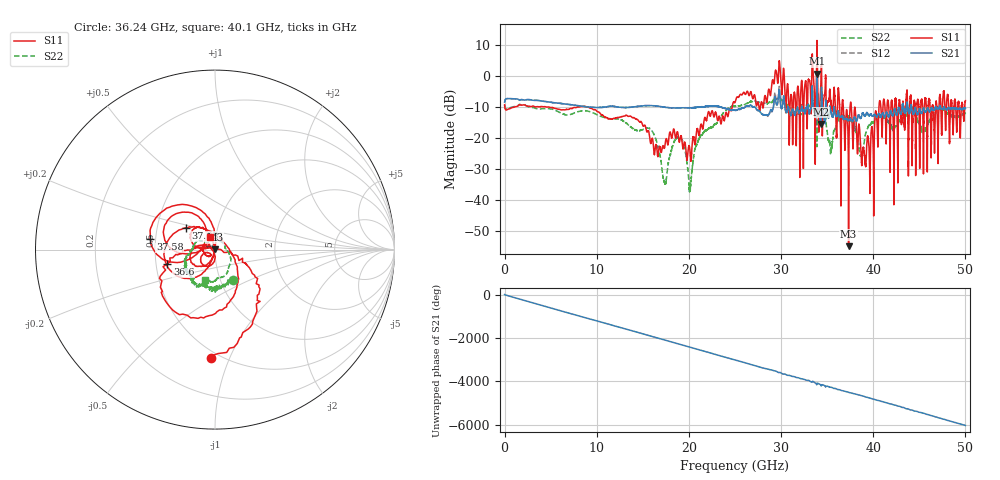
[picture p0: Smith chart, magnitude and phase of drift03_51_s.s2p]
!Created with skrf (http://scikit-rf.org).
# Hz S RI R 50.0
!freq ReS11 ImS11 ReS21 ImS21 ReS12 ImS12 ReS22 ImS22
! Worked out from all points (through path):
!   10001 points, 300 kHz to 50 GHz, reference 50 ohm
!   highest |S21| = 0.65 dB at 33.9 GHz (marker M1); lowest = -15.5 dB at 34.32 GHz (marker M2)
!   group delay of S21, straight-line fit = 335 ps
!   lowest |S11| = -54.8 dB at 37.33 GHz (marker M3), VSWR 1.00, Z = 49.9 + j0.139 ohm
!   |S11| at or under -10 dB: 4.47 GHz to 7.955 GHz (3.485 GHz wide, 56.1 % of centre); 9.016 GHz to 24.7 GHz (15.68 GHz wide, 93 % of centre); 37.62 GHz to 40.62 GHz (3.002 GHz wide, 7.67 % of centre) (the widest 3 of 62)
!   |S22| runs from -37.7 to -5.9 dB; largest |S21 - S12| = 0.11
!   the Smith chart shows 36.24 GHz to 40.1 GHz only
!   S11 on the Smith chart (normalised r, x): 36.24 GHz: 0.45, -0.85; 36.6 GHz: 0.57, -0.10; 37.03 GHz: 0.70, +0.18; 37.58 GHz: 0.47, +0.06; 40.1 GHz: 0.94, +0.14
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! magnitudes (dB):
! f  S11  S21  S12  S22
! 300 kHz  -9.3  -8.5  -8.5  -9.3
! 8.335 GHz  -9.9  -9.8  -9.8  -11.3
! 16.67 GHz  -25.5  -9.8  -9.8  -23.2
! 17.39 GHz  -22.6  -10.1  -10.1  -34.7
! 19.08 GHz  -19.7  -10.3  -10.3  -20.1
! 20.13 GHz  -24.6  -10.3  -10.3  -36.6
! 21.18 GHz  -17.9  -10.1  -10.1  -19.6
! 25 GHz  -8.6  -11.1  -11.1  -9.8
! 31.08 GHz  -6.0  -12.6  -12.7  -10.5
! 33.34 GHz  0.4  -7.5  -7.6  -9.4
! 33.9 GHz  11.4  0.6  0.3  -22.8
! 34.32 GHz  -2.9  -15.5  -14.9  -11.2
! 35.35 GHz  -6.7  -10.6  -10.1  -24.4
! 36.24 GHz  -4.4  -11.7  -11.7  -14.1
! 36.6 GHz  -11.1  -13.0  -13.1  -13.8
! 37.03 GHz  -13.8  -13.8  -14.0  -13.7
! 37.33 GHz  -54.8  -14.4  -14.5  -13.4
! 37.58 GHz  -8.7  -13.9  -13.8  -14.2
! 38.71 GHz  -26.5  -13.4  -13.3  -25.2
! 40.1 GHz  -22.4  -12.6  -12.5  -14.9
! 41.67 GHz  -9.5  -13.3  -13.2  -14.7
! 50 GHz  -8.0  -10.5  -10.5  -12.1
